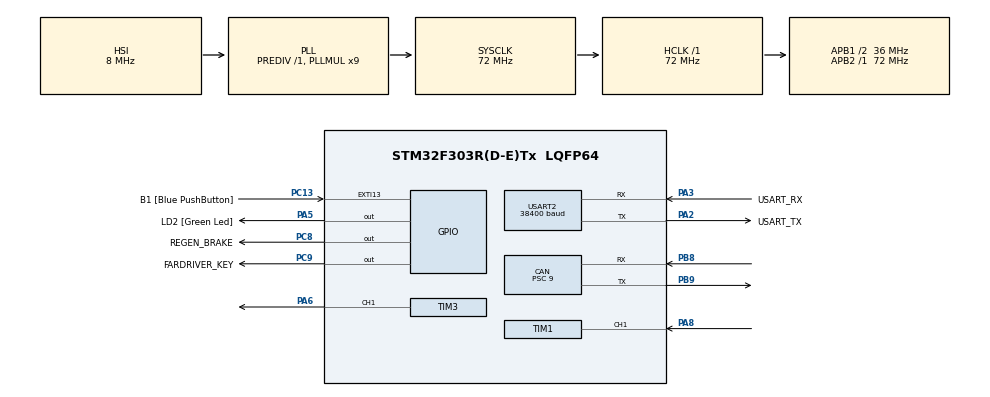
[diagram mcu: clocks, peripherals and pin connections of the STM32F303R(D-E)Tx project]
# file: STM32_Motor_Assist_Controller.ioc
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CAN.BS1=CAN_BS1_5TQ
CAN.BS2=CAN_BS2_2TQ
CAN.CalculateBaudRate=500000
CAN.CalculateTimeBit=2000
CAN.CalculateTimeQuantum=250.0
CAN.Prescaler=9
Mcu.Family=STM32F3
Mcu.Name=STM32F303R(D-E)Tx
Mcu.Package=LQFP64
NVIC.PriorityGroup=NVIC_PRIORITYGROUP_0
NVIC.TIM1_CC_IRQn=true\:0\:0\:false\:false\:true\:true\:true\:true
NVIC.USART2_IRQn=true\:0\:0\:false\:false\:true\:true\:true\:true
NVIC.USB_LP_CAN_RX0_IRQn=true\:0\:0\:false\:false\:true\:true\:true\:true
PA13.GPIO_Label=TMS
PA13.Mode=Serial_Wire
PA13.Signal=SYS_JTMS-SWDIO
PA14.GPIO_Label=TCK
PA14.Mode=Serial_Wire
PA14.Signal=SYS_JTCK-SWCLK
PA2.GPIO_Label=USART_TX
PA2.GPIO_Mode=GPIO_MODE_AF_PP
PA2.GPIO_PuPd=GPIO_NOPULL
PA2.GPIO_Speed=GPIO_SPEED_FREQ_LOW
PA2.Mode=Asynchronous
PA2.Signal=USART2_TX
PA3.GPIO_Label=USART_RX
PA3.GPIO_Mode=GPIO_MODE_AF_PP
PA3.GPIO_PuPd=GPIO_NOPULL
PA3.GPIO_Speed=GPIO_SPEED_FREQ_LOW
PA3.Mode=Asynchronous
PA3.Signal=USART2_RX
PA5.GPIO_Label=LD2 [Green Led]
PA5.GPIO_Mode=GPIO_MODE_OUTPUT_PP
PA5.GPIO_PuPd=GPIO_NOPULL
PA5.GPIO_Speed=GPIO_SPEED_FREQ_LOW
PA5.Signal=GPIO_Output
PA6.GPIO_Speed=GPIO_SPEED_FREQ_MEDIUM
PA6.Signal=S_TIM3_CH1
PA8.GPIO_PuPd=GPIO_PULLDOWN
PA8.Signal=S_TIM1_CH1
PB3.GPIO_Label=SWO
PB3.Signal=SYS_JTDO-TRACESWO
PB8.Mode=CAN_Activate
PB8.Signal=CAN_RX
PB9.Mode=CAN_Activate
PB9.Signal=CAN_TX
PC13.GPIO_Label=B1 [Blue PushButton]
PC13.GPIO_ModeDefaultEXTI=GPIO_MODE_IT_FALLING
PC13.Signal=GPXTI13
PC14-OSC32_IN.Mode=LSE-External-Oscillator
PC14-OSC32_IN.Signal=RCC_OSC32_IN
PC15-OSC32_OUT.Mode=LSE-External-Oscillator
PC15-OSC32_OUT.Signal=RCC_OSC32_OUT
PC8.GPIO_Label=REGEN_BRAKE
PC8.GPIO_ModeDefaultOutputPP=GPIO_MODE_OUTPUT_OD
PC8.GPIO_PuPd=GPIO_NOPULL
PC8.Signal=GPIO_Output
PC9.GPIO_Label=FARDRIVER_KEY
PC9.Signal=GPIO_Output
PF0-OSC_IN.Mode=HSE-External-Clock-Source
PF0-OSC_IN.Signal=RCC_OSC_IN
PF1-OSC_OUT.Signal=RCC_OSC_OUT
ProjectManager.HeapSize=0x200
ProjectManager.StackSize=0x400
ProjectManager.TargetToolchain=CMake
RCC.AHBFreq_Value=72000000
RCC.APB1CLKDivider=RCC_HCLK_DIV2
RCC.APB1Freq_Value=36000000
RCC.APB1TimFreq_Value=72000000
RCC.APB2Freq_Value=72000000
RCC.APB2TimFreq_Value=72000000
RCC.CortexFreq_Value=72000000
RCC.HCLKFreq_Value=72000000
RCC.HSE_VALUE=8000000
RCC.HSI_VALUE=8000000
RCC.PLLM=8
RCC.PLLMUL=RCC_PLL_MUL9
RCC.PLLN=336
RCC.PLLP=RCC_PLLP_DIV4
RCC.PLLQ=7
RCC.RCC_PLLsource_Clock_Source_FROM_HSE=RCC_HSE_PREDIV_DIV2
RCC.SYSCLKFreq_VALUE=72000000
RCC.SYSCLKSourceVirtual=RCC_SYSCLKSOURCE_PLLCLK
RCC.USBFreq_Value=72000000
SH.S_TIM1_CH1.0=TIM1_CH1,Input_Capture1_from_TI1
SH.S_TIM3_CH1.0=TIM3_CH1,PWM Generation1 CH1
TIM1.Channel-Input_Capture1_from_TI1=TIM_CHANNEL_1
TIM1.ICFilter_CH1=15
TIM1.ICPolarity_CH1=TIM_INPUTCHANNELPOLARITY_BOTHEDGE
TIM1.Period=0xFFFF
TIM1.Prescaler=71
TIM3.Channel-PWM\ Generation1\ CH1=TIM_CHANNEL_1
TIM3.OCFastMode_PWM-PWM\ Generation1\ CH1=TIM_OCFAST_ENABLE
TIM3.Period=3199
TIM3.Prescaler=0
USART2.BaudRate=38400
USART2.VirtualMode-Asynchronous=VM_ASYNC
VP_TIM1_VS_ClockSourceINT.Mode=Internal
VP_TIM3_VS_ClockSourceINT.Mode=Internal
board=NUCLEO-F303RE

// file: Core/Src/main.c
/* USER CODE BEGIN Header */
/**
  ******************************************************************************
  * @file           : main.c
  * @brief          : Main program body
  ******************************************************************************
  * @attention
  *
  * Copyright (c) 2026 STMicroelectronics.
  * All rights reserved.
  *
  * This software is licensed under terms that can be found in the LICENSE file
  * in the root directory of this software component.
  * If no LICENSE file comes with this software, it is provided AS-IS.
  *
  ******************************************************************************
  */
/* USER CODE END Header */
#include "main.h"

/* USER CODE BEGIN Includes */
#include "fardriver.h"
#include "fardriver_sif.h"
#include "vehicle_can.h"
#include <stdio.h>
#include <stdlib.h>
#include <string.h>
/* USER CODE END Includes */

/* USER CODE BEGIN PD */

/* Serial debug console: lets you set throttle/regen over UART without
 * needing live vehicle CAN traffic. Set to 0 for a normal build. */
#define DEBUG_SERIAL_CONTROL 0

/* USER CODE END PD */

CAN_HandleTypeDef hcan;

TIM_HandleTypeDef htim1;
TIM_HandleTypeDef htim3;

UART_HandleTypeDef huart2;

/* USER CODE BEGIN PV */

/* CAN bus timeout: if no vehicle message in 500 ms, cut motor output */
#define VEH_CAN_TIMEOUT_MS  500U
/* USER CODE END PV */

void SystemClock_Config(void);
static void MX_GPIO_Init(void);
static void MX_USART2_UART_Init(void);
static void MX_CAN_Init(void);
static void MX_TIM3_Init(void);
static void MX_TIM1_Init(void);

/* USER CODE BEGIN 0 */

#if DEBUG_SERIAL_CONTROL
/* Commands (newline terminated): "T<0-100>" set throttle %, "R0"/"R1"
 * regen off/on, "N" release override and resume normal CAN control, "?"
 * print current state. Overrides the safety cutout while active. */
static uint8_t dbg_override_active = 0U;
static float   dbg_throttle_pct = 0.0f;
static uint8_t dbg_regen = 0U;

static void Debug_HandleLine(char *line)
{
  size_t len = strlen(line);
  if (len == 0U)
  {
    return;
  }

  if ((line[0] == 'T' || line[0] == 't') && len > 1U)
  {
    float val = strtof(&line[1], NULL);
    if (val < 0.0f) val = 0.0f;
    if (val > 100.0f) val = 100.0f;
    dbg_throttle_pct = val;
    dbg_override_active = 1U;
    printf("[DBG] throttle=%.1f%%\r\n", (double)dbg_throttle_pct);
  }
  else if ((line[0] == 'R' || line[0] == 'r') && len > 1U)
  {
    dbg_regen = (line[1] != '0') ? 1U : 0U;
    dbg_override_active = 1U;
    printf("[DBG] regen=%u\r\n", (unsigned)dbg_regen);
  }
  else if (line[0] == 'N' || line[0] == 'n')
  {
    dbg_override_active = 0U;
    dbg_throttle_pct = 0.0f;
    dbg_regen = 0U;
    printf("[DBG] override released, resuming CAN control\r\n");
  }
  else if (line[0] == '?')
  {
    printf("[DBG] override=%u throttle=%.1f%% regen=%u\r\n",
           (unsigned)dbg_override_active, (double)dbg_throttle_pct, (unsigned)dbg_regen);
  }
  else
  {
    printf("[DBG] unknown cmd '%s' (use T<0-100>, R0/R1, N, ?)\r\n", line);
  }
}

/* RX is interrupt-driven (USART2 has no hardware FIFO, so polling once per
 * ~10-20 ms loop iteration can miss/overwrite bytes). The ISR just stashes
 * each byte in a ring buffer and re-arms itself; Debug_PollUART() drains
 * the buffer and assembles/dispatches lines from the main loop. */
#define DBG_RXBUF_SIZE 64U
static volatile uint8_t  dbg_rxbuf[DBG_RXBUF_SIZE];
static volatile uint16_t dbg_rxbuf_head = 0U;
static volatile uint16_t dbg_rxbuf_tail = 0U;
static uint8_t           dbg_rx_byte;

void HAL_UART_RxCpltCallback(UART_HandleTypeDef *huart)
{
  if (huart->Instance == USART2)
  {
    uint16_t next = (uint16_t)((dbg_rxbuf_head + 1U) % DBG_RXBUF_SIZE);
    if (next != dbg_rxbuf_tail)  /* drop byte if buffer is full */
    {
      dbg_rxbuf[dbg_rxbuf_head] = dbg_rx_byte;
      dbg_rxbuf_head = next;
    }
    HAL_UART_Receive_IT(&huart2, &dbg_rx_byte, 1U);
  }
}

void HAL_UART_ErrorCallback(UART_HandleTypeDef *huart)
{
  if (huart->Instance == USART2)
  {
    __HAL_UART_CLEAR_FLAG(huart, UART_CLEAR_OREF);
    HAL_UART_Receive_IT(&huart2, &dbg_rx_byte, 1U);
  }
}

/* Drains the ISR ring buffer and assembles/dispatches lines; call once per
 * main loop iteration. */
static void Debug_PollUART(void)
{
  static char    line[32];
  static uint8_t idx = 0U;

  while (dbg_rxbuf_tail != dbg_rxbuf_head)
  {
    uint8_t rx_byte = dbg_rxbuf[dbg_rxbuf_tail];
    dbg_rxbuf_tail = (uint16_t)((dbg_rxbuf_tail + 1U) % DBG_RXBUF_SIZE);

    if (rx_byte == '\r' || rx_byte == '\n')
    {
      if (idx > 0U)
      {
        line[idx] = '\0';
        Debug_HandleLine(line);
        idx = 0U;
      }
    }
    else if (idx < sizeof(line) - 1U)
    {
      line[idx++] = (char)rx_byte;
    }
  }
}
#endif /* DEBUG_SERIAL_CONTROL */

/* USER CODE END 0 */

int main(void)
{

  /* MCU Configuration--------------------------------------------------------*/

  /* Reset of all peripherals, Initializes the Flash interface and the Systick. */
  HAL_Init();

  /* Configure the system clock */
  SystemClock_Config();

  /* Initialize all configured peripherals */
  MX_GPIO_Init();
  MX_USART2_UART_Init();
  MX_CAN_Init();
  MX_TIM3_Init();
  MX_TIM1_Init();
  /* USER CODE BEGIN 2 */

  Fardriver_Init();
  VehicleCAN_Init();
  //FardriverSIF_Init(); /* start TIM1 input capture */

  Fardriver_SetKey(1);        /* power on the Fardriver controller */
  HAL_GPIO_WritePin(LD2_GPIO_Port, LD2_Pin, GPIO_PIN_SET); /* green on */

#if DEBUG_SERIAL_CONTROL
  HAL_UART_Receive_IT(&huart2, &dbg_rx_byte, 1U);
#endif

  /* USER CODE END 2 */

  /* Infinite loop */
  while (1)
  {

    /* USER CODE BEGIN 3 */

#if DEBUG_SERIAL_CONTROL
    /* Non-blocking; keep polling even when CAN is dead so bench testing
     * doesn't need a live vehicle bus. */
    Debug_PollUART();
#endif

    /* --- Safety: if CAN is lost, immediately cut throttle and regen ---
     * Bypassed while a serial debug override is active. */
    if (!VehicleCAN_IsAlive(VEH_CAN_TIMEOUT_MS)
#if DEBUG_SERIAL_CONTROL
        && !dbg_override_active
#endif
       )
    {
      Fardriver_SetThrottlePct(0.0f);
      Fardriver_SetRegenBrake(0);
      HAL_GPIO_WritePin(LD2_GPIO_Port, LD2_Pin, GPIO_PIN_RESET);
      HAL_Delay(10);
      continue;
    }

    /* --- Throttle control ---
     * Only drive motor when transmission is in Drive (gear=3).
     * Cut throttle in Park, Neutral, Reverse
     * Also cut in Sport, or Low for now
     */
    float pedal_pct = 0.0f;
    float throttle_pct = 0.0f;
#if DEBUG_SERIAL_CONTROL
    if (dbg_override_active)
    {
      throttle_pct = dbg_throttle_pct;
    }
    else
#endif
    {
      if (g_vehicle.gear == PRND_DRIVE /* && VEHICLE_MOVING() */)
      {
        pedal_pct = g_vehicle.accel_pedal_pct;
        if (pedal_pct > 100.0f) pedal_pct = 100.0f;
      }
      throttle_pct = pedal_pct * 1; // 0-100% pedal -> 0-100% throttle
      if (throttle_pct > 100.0f) throttle_pct = 100.0f;
    }

    /* --- Regen braking ---
     * Engage when vehicle moving forward, gas pedal released, brake pedal pressed, and in drive
     */
    uint8_t regen;
#if DEBUG_SERIAL_CONTROL
    if (dbg_override_active)
    {
      regen = dbg_regen;
    }
    else
#endif
    {
      regen = g_vehicle.gear == PRND_DRIVE && VEHICLE_MOVING() /* && g_vehicle.brake_applied == 1U */ && (pedal_pct < 1.0f) ? 1U : 0U;
    }

    /* Output to Fardriver */
    float throttle_voltage = Fardriver_SetThrottlePct(throttle_pct);
    Fardriver_SetRegenBrake(regen);

    /* Debug: show SIF input state and valid frames.
     * CAPTURE fires on every edge (~192/frame) — too noisy to print, so it's
     * consumed silently and only the events that matter are logged. */
    if (g_fardriver_sif_debug_event != SIF_DEBUG_NONE) {
      uint8_t event = g_fardriver_sif_debug_event;
      g_fardriver_sif_debug_event = SIF_DEBUG_NONE;

      if (event != SIF_DEBUG_CAPTURE) {
        const char *event_name = "?";
        switch (event) {
        case SIF_DEBUG_SYNC_LOW:        event_name = "SYNC_LOW"; break;
        case SIF_DEBUG_SYNC_HIGH:       event_name = "SYNC_HIGH"; break;
        case SIF_DEBUG_SHORT_PULSE:     event_name = "SHORT_PULSE"; break;
        case SIF_DEBUG_INVALID_FRAME:   event_name = "INVALID_FRAME"; break;
        case SIF_DEBUG_UNEXPECTED_EDGE: event_name = "UNEXPECTED_EDGE"; break;
        default: break;
        }
        printf("[SIF] event=%s dt=%lu pin=%u\r\n",
               event_name,
               (unsigned long)g_fardriver_sif_last_dt,
               (unsigned)g_fardriver_sif_last_pin);
        if (event == SIF_DEBUG_INVALID_FRAME) {
          /* Print a hexdump of the partial/invalid frame for tuning */
          printf("[SIF] invalid frame snapshot (%u bytes): ", (unsigned)g_fardriver_sif_last_frame_len);
          for (uint8_t i = 0; i < g_fardriver_sif_last_frame_len; i++) {
            printf("%02X ", (unsigned)g_fardriver_sif_last_frame[i]);
          }
          printf("\r\n");
        }
      }
    }

    if (g_fardriver_status.fresh) {
      printf("[SIF] valid frame gear=%u batt=%u cur=%u boost=%u hall=%u\r\n",
             (unsigned)g_fardriver_status.speed_gear,
             (unsigned)g_fardriver_status.battery_pct,
             (unsigned)g_fardriver_status.current_pct,
             (unsigned)g_fardriver_status.boost_active,
             (unsigned)g_fardriver_status.speed_hall_count);
      g_fardriver_status.fresh = 0U;
    }

    /* LED: solid = throttling, blink = regen, off = idle */
    if (pedal_pct > 1.0f) {
      HAL_GPIO_WritePin(LD2_GPIO_Port, LD2_Pin, GPIO_PIN_SET);
    } else if (regen) {
      HAL_GPIO_WritePin(LD2_GPIO_Port, LD2_Pin,
                        (HAL_GetTick() & 256U) ? GPIO_PIN_SET : GPIO_PIN_RESET);
    } else {
      HAL_GPIO_WritePin(LD2_GPIO_Port, LD2_Pin, GPIO_PIN_RESET);
    }

    /* Decoded CAN summary every 500 ms */
    static uint32_t s_print_ts = 0U;
    if (HAL_GetTick() - s_print_ts >= 500U) {
      s_print_ts = HAL_GetTick();
      static const char *gear_str[] = {"Park","Reverse","Neutral","Drive","Sport","Low",
                                        "?","?","?","?","?","?","?","?","?","Unknown"};
      printf("Gear=%s  Pedal=%.1f%%  Brake=%u  Spd=%.1fkph  EngRPM=%.0f  PWM=%.2fV  MotThrottle=%.1f%%  Regen=%u\r\n",
             gear_str[g_vehicle.gear & 0xFU],
             (double)g_vehicle.accel_pedal_pct,
             (unsigned)g_vehicle.brake_applied,
             (double)g_vehicle.vehicle_speed_kph,
             (double)g_vehicle.engine_speed_rpm,
             (float)throttle_voltage,
             (double)throttle_pct,
             (unsigned)regen);
    }

    HAL_Delay(10);  /* 100 Hz control loop */
  }
  /* USER CODE END 3 */
}

void SystemClock_Config(void)
{
  RCC_OscInitTypeDef RCC_OscInitStruct = {0};
  RCC_ClkInitTypeDef RCC_ClkInitStruct = {0};
  RCC_PeriphCLKInitTypeDef PeriphClkInit = {0};

  /** Initializes the RCC Oscillators according to the specified parameters
  * in the RCC_OscInitTypeDef structure.
  */
  RCC_OscInitStruct.OscillatorType = RCC_OSCILLATORTYPE_HSI;
  RCC_OscInitStruct.HSIState = RCC_HSI_ON;
  RCC_OscInitStruct.HSICalibrationValue = RCC_HSICALIBRATION_DEFAULT;
  RCC_OscInitStruct.PLL.PLLState = RCC_PLL_ON;
  RCC_OscInitStruct.PLL.PLLSource = RCC_PLLSOURCE_HSI;
  RCC_OscInitStruct.PLL.PLLMUL = RCC_PLL_MUL9;
  RCC_OscInitStruct.PLL.PREDIV = RCC_PREDIV_DIV1;
  if (HAL_RCC_OscConfig(&RCC_OscInitStruct) != HAL_OK)
  {
    Error_Handler();
  }

  /** Initializes the CPU, AHB and APB buses clocks
  */
  RCC_ClkInitStruct.ClockType = RCC_CLOCKTYPE_HCLK|RCC_CLOCKTYPE_SYSCLK
                              |RCC_CLOCKTYPE_PCLK1|RCC_CLOCKTYPE_PCLK2;
  RCC_ClkInitStruct.SYSCLKSource = RCC_SYSCLKSOURCE_PLLCLK;
  RCC_ClkInitStruct.AHBCLKDivider = RCC_SYSCLK_DIV1;
  RCC_ClkInitStruct.APB1CLKDivider = RCC_HCLK_DIV2;
  RCC_ClkInitStruct.APB2CLKDivider = RCC_HCLK_DIV1;

  if (HAL_RCC_ClockConfig(&RCC_ClkInitStruct, FLASH_LATENCY_2) != HAL_OK)
  {
    Error_Handler();
  }
  PeriphClkInit.PeriphClockSelection = RCC_PERIPHCLK_USART2|RCC_PERIPHCLK_TIM1
                              |RCC_PERIPHCLK_TIM34;
  PeriphClkInit.Usart2ClockSelection = RCC_USART2CLKSOURCE_PCLK1;
  PeriphClkInit.Tim1ClockSelection = RCC_TIM1CLK_HCLK;
  PeriphClkInit.Tim34ClockSelection = RCC_TIM34CLK_HCLK;
  if (HAL_RCCEx_PeriphCLKConfig(&PeriphClkInit) != HAL_OK)
  {
    Error_Handler();
  }
}

static void MX_CAN_Init(void)
{

  hcan.Instance = CAN;
  hcan.Init.Prescaler = 9;
  hcan.Init.Mode = CAN_MODE_NORMAL;
  hcan.Init.SyncJumpWidth = CAN_SJW_1TQ;
  hcan.Init.TimeSeg1 = CAN_BS1_5TQ;
  hcan.Init.TimeSeg2 = CAN_BS2_2TQ;
  hcan.Init.TimeTriggeredMode = DISABLE;
  hcan.Init.AutoBusOff = DISABLE;
  hcan.Init.AutoWakeUp = DISABLE;
  hcan.Init.AutoRetransmission = DISABLE;
  hcan.Init.ReceiveFifoLocked = DISABLE;
  hcan.Init.TransmitFifoPriority = DISABLE;
  if (HAL_CAN_Init(&hcan) != HAL_OK)
  {
    Error_Handler();
  }

}

static void MX_TIM1_Init(void)
{

  TIM_ClockConfigTypeDef sClockSourceConfig = {0};
  TIM_MasterConfigTypeDef sMasterConfig = {0};
  TIM_IC_InitTypeDef sConfigIC = {0};

  htim1.Instance = TIM1;
  htim1.Init.Prescaler = 71;
  htim1.Init.CounterMode = TIM_COUNTERMODE_UP;
  htim1.Init.Period = 0xFFFF;
  htim1.Init.ClockDivision = TIM_CLOCKDIVISION_DIV1;
  htim1.Init.RepetitionCounter = 0;
  htim1.Init.AutoReloadPreload = TIM_AUTORELOAD_PRELOAD_DISABLE;
  if (HAL_TIM_Base_Init(&htim1) != HAL_OK)
  {
    Error_Handler();
  }
  sClockSourceConfig.ClockSource = TIM_CLOCKSOURCE_INTERNAL;
  if (HAL_TIM_ConfigClockSource(&htim1, &sClockSourceConfig) != HAL_OK)
  {
    Error_Handler();
  }
  if (HAL_TIM_IC_Init(&htim1) != HAL_OK)
  {
    Error_Handler();
  }
  sMasterConfig.MasterOutputTrigger = TIM_TRGO_RESET;
  sMasterConfig.MasterOutputTrigger2 = TIM_TRGO2_RESET;
  sMasterConfig.MasterSlaveMode = TIM_MASTERSLAVEMODE_DISABLE;
  if (HAL_TIMEx_MasterConfigSynchronization(&htim1, &sMasterConfig) != HAL_OK)
  {
    Error_Handler();
  }
  sConfigIC.ICPolarity = TIM_INPUTCHANNELPOLARITY_BOTHEDGE;
  sConfigIC.ICSelection = TIM_ICSELECTION_DIRECTTI;
  sConfigIC.ICPrescaler = TIM_ICPSC_DIV1;
  sConfigIC.ICFilter = 15;
  if (HAL_TIM_IC_ConfigChannel(&htim1, &sConfigIC, TIM_CHANNEL_1) != HAL_OK)
  {
    Error_Handler();
  }

}

static void MX_TIM3_Init(void)
{

  TIM_ClockConfigTypeDef sClockSourceConfig = {0};
  TIM_MasterConfigTypeDef sMasterConfig = {0};
  TIM_OC_InitTypeDef sConfigOC = {0};

  htim3.Instance = TIM3;
  htim3.Init.Prescaler = 0;
  htim3.Init.CounterMode = TIM_COUNTERMODE_UP;
  htim3.Init.Period = 3199;
  htim3.Init.ClockDivision = TIM_CLOCKDIVISION_DIV1;
  htim3.Init.AutoReloadPreload = TIM_AUTORELOAD_PRELOAD_DISABLE;
  if (HAL_TIM_Base_Init(&htim3) != HAL_OK)
  {
    Error_Handler();
  }
  sClockSourceConfig.ClockSource = TIM_CLOCKSOURCE_INTERNAL;
  if (HAL_TIM_ConfigClockSource(&htim3, &sClockSourceConfig) != HAL_OK)
  {
    Error_Handler();
  }
  if (HAL_TIM_PWM_Init(&htim3) != HAL_OK)
  {
    Error_Handler();
  }
  sMasterConfig.MasterOutputTrigger = TIM_TRGO_RESET;
  sMasterConfig.MasterSlaveMode = TIM_MASTERSLAVEMODE_DISABLE;
  if (HAL_TIMEx_MasterConfigSynchronization(&htim3, &sMasterConfig) != HAL_OK)
  {
    Error_Handler();
  }
  sConfigOC.OCMode = TIM_OCMODE_PWM1;
  sConfigOC.Pulse = 0;
  sConfigOC.OCPolarity = TIM_OCPOLARITY_HIGH;
  sConfigOC.OCFastMode = TIM_OCFAST_ENABLE;
  if (HAL_TIM_PWM_ConfigChannel(&htim3, &sConfigOC, TIM_CHANNEL_1) != HAL_OK)
  {
    Error_Handler();
  }
  HAL_TIM_MspPostInit(&htim3);

}

static void MX_USART2_UART_Init(void)
{

  huart2.Instance = USART2;
  huart2.Init.BaudRate = 38400;
  huart2.Init.WordLength = UART_WORDLENGTH_8B;
  huart2.Init.StopBits = UART_STOPBITS_1;
  huart2.Init.Parity = UART_PARITY_NONE;
  huart2.Init.Mode = UART_MODE_TX_RX;
  huart2.Init.HwFlowCtl = UART_HWCONTROL_NONE;
  huart2.Init.OverSampling = UART_OVERSAMPLING_16;
  huart2.Init.OneBitSampling = UART_ONE_BIT_SAMPLE_DISABLE;
  huart2.AdvancedInit.AdvFeatureInit = UART_ADVFEATURE_NO_INIT;
  if (HAL_UART_Init(&huart2) != HAL_OK)
  {
    Error_Handler();
  }

}

static void MX_GPIO_Init(void)
{
  GPIO_InitTypeDef GPIO_InitStruct = {0};

  /* GPIO Ports Clock Enable */
  __HAL_RCC_GPIOC_CLK_ENABLE();
  __HAL_RCC_GPIOF_CLK_ENABLE();
  __HAL_RCC_GPIOA_CLK_ENABLE();
  __HAL_RCC_GPIOB_CLK_ENABLE();

  /*Configure GPIO pin Output Level */
  HAL_GPIO_WritePin(LD2_GPIO_Port, LD2_Pin, GPIO_PIN_RESET);

  /*Configure GPIO pin Output Level */
  HAL_GPIO_WritePin(GPIOC, REGEN_BRAKE_Pin|FARDRIVER_KEY_Pin, GPIO_PIN_RESET);

  /*Configure GPIO pin : B1_Pin */
  GPIO_InitStruct.Pin = B1_Pin;
  GPIO_InitStruct.Mode = GPIO_MODE_IT_FALLING;
  GPIO_InitStruct.Pull = GPIO_NOPULL;
  HAL_GPIO_Init(B1_GPIO_Port, &GPIO_InitStruct);

  /*Configure GPIO pin : LD2_Pin */
  GPIO_InitStruct.Pin = LD2_Pin;
  GPIO_InitStruct.Mode = GPIO_MODE_OUTPUT_PP;
  GPIO_InitStruct.Pull = GPIO_NOPULL;
  GPIO_InitStruct.Speed = GPIO_SPEED_FREQ_LOW;
  HAL_GPIO_Init(LD2_GPIO_Port, &GPIO_InitStruct);

  /*Configure GPIO pin : REGEN_BRAKE_Pin */
  GPIO_InitStruct.Pin = REGEN_BRAKE_Pin;
  GPIO_InitStruct.Mode = GPIO_MODE_OUTPUT_OD;
  GPIO_InitStruct.Pull = GPIO_NOPULL;
  GPIO_InitStruct.Speed = GPIO_SPEED_FREQ_LOW;
  HAL_GPIO_Init(REGEN_BRAKE_GPIO_Port, &GPIO_InitStruct);

  /*Configure GPIO pin : FARDRIVER_KEY_Pin */
  GPIO_InitStruct.Pin = FARDRIVER_KEY_Pin;
  GPIO_InitStruct.Mode = GPIO_MODE_OUTPUT_PP;
  GPIO_InitStruct.Pull = GPIO_NOPULL;
  GPIO_InitStruct.Speed = GPIO_SPEED_FREQ_LOW;
  HAL_GPIO_Init(FARDRIVER_KEY_GPIO_Port, &GPIO_InitStruct);

}

/* USER CODE BEGIN 4 */

int __io_putchar(int ch)
{
  HAL_UART_Transmit(&huart2, (uint8_t *)&ch, 1, HAL_MAX_DELAY);
  return ch;
}

/* USER CODE END 4 */

void Error_Handler(void)
{
  __disable_irq();
  while (1)
  {
  }
}
